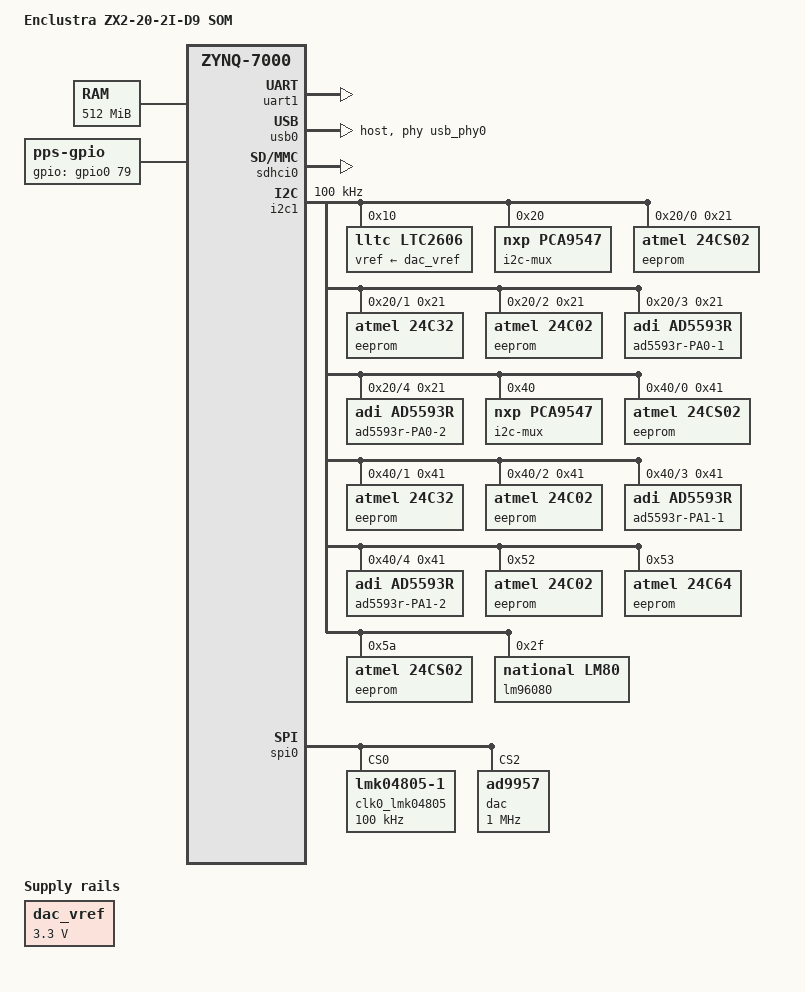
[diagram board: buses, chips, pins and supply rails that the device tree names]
/dts-v1/;

#include "zynq-7000.dtsi"
#include "zynq_enclustra_common.dtsi"
#include "zynq_enclustra_mars_zx2.dtsi"
#include <dt-bindings/interrupt-controller/irq.h>

/*
 *
 * * * * * * * * * * *
 * IRQ PL->PS
 * * * * * * * * * * *
 * 61  IRQ_F2P[0]
 * 62  IRQ_F2P[1]
 * 63  IRQ_F2P[2]
 * 64  IRQ_F2P[3]
 * 65  IRQ_F2P[4]
 * 66  IRQ_F2P[5]
 * 67  IRQ_F2P[6]
 * 68  IRQ_F2P[7]
 * 84  IRQ_F2P[8]
 * 85  IRQ_F2P[9]
 * 86  IRQ_F2P[10]
 * 87  IRQ_F2P[11]
 * 88  IRQ_F2P[12]
 * 89  IRQ_F2P[13]
 * 90  IRQ_F2P[14]
 * 91  IRQ_F2P[15]
 * * * * * * * * * * *
 * The IRQ Number in the devicetree
 * is determined as follows:
 * for IRQ_F2P: IRQ_devicetree = IRQ - 32
 */


/ {
	model = "Enclustra ZX2-20-2I-D9 SOM";

	chosen {
		bootargs = "console=ttyPS0,115200 earlycon earlyprintk root=/dev/mmcblk0p2 rw rootfstype=ext4 rootwait";
		stdout-path = "serial0:115200n8";
	};

	aliases {
		ethernet0 = &gem0;
		//i2c0 = &i2c0;
		//i2c1 = &i2c1;
		serial0 = &uart0;
		serial1 = &uart1;
		spi0 = &qspi;
	};

	memory {
		device_type = "memory";
		reg = <0x0 0x20000000>;
	};

	usb_phy0: phy0 {
		compatible = "usb-nop-xceiv";
		#phy-cells = <0>;
		reg = <0xe0002000 0x1000>;
		view-port = <0x0170>;
		drv-vbus;
	};

	fpga_axi: fpga-axi@0 {
		compatible = "simple-bus";
		#address-cells = <0x1>;
		#size-cells = <0x1>;
		ranges;



		tx0_dma: tx0-dmac@43c00000 {
			compatible = "adi,axi-dmac-1.00.a";
			reg = <0x43c00000 0x10000>;
			#dma-cells = <1>;
			interrupts = <0 29 IRQ_TYPE_LEVEL_HIGH>;
			interrupt-parent = <&intc>;
			clocks = <&clkc 16>;

			adi,channels {
				#size-cells = <0>;
				#address-cells = <1>;

				dma-channel@0 {
					reg = <0>;
					adi,source-bus-width = <64>;
					adi,source-bus-type = <0>;
					adi,destination-bus-width = <32>;
					adi,destination-bus-type = <2>;
				};
			};
		};

		tx1_dma: tx0-dmac@43c10000 {
			compatible = "adi,axi-dmac-1.00.a";
			reg = <0x43c10000 0x10000>;
			#dma-cells = <1>;
			interrupts = <0 30 IRQ_TYPE_LEVEL_HIGH>;
			interrupt-parent = <&intc>;
			clocks = <&clkc 16>;

			adi,channels {
				#size-cells = <0>;
				#address-cells = <1>;

				dma-channel@0 {
					reg = <0>;
					adi,source-bus-width = <64>;
					adi,source-bus-type = <0>;
					adi,destination-bus-width = <32>;
					adi,destination-bus-type = <2>;
				};
			};
		};

		dexter_dsp_tx: dexter_dsp_tx@43D00000 {
			compatible = "fpga,dexter-dsp-tx";
			reg = <0x43D00000 0x10000>;
			clocks = <&dac>;
			clock-names = "dac_clk";
		};

		fft_dma_in: dmac@43c20000 {
			compatible = "adi,axi-dmac-1.00.a";
			reg = <0x43c20000 0x10000>;
			#dma-cells = <1>;
			interrupts = <0 31 IRQ_TYPE_LEVEL_HIGH>;
			interrupt-parent = <&intc>;
			clocks = <&clkc 16>;

			adi,channels {
				#size-cells = <0>;
				#address-cells = <1>;

				dma-channel@0 {
					reg = <0>;
					adi,source-bus-width = <64>;
					adi,source-bus-type = <0>;
					adi,destination-bus-width = <32>;
					adi,destination-bus-type = <1>;
				};
			};
		};

		fft_dma_out: dmac@43c30000 {
			compatible = "adi,axi-dmac-1.00.a";
			reg = <0x43c10000 0x10000>;
			#dma-cells = <1>;
			interrupts = <0 32 IRQ_TYPE_LEVEL_HIGH>;
			interrupt-parent = <&intc>;
			clocks = <&clkc 16>;

			adi,channels {
				#size-cells = <0>;
				#address-cells = <1>;

				dma-channel@0 {
					reg = <0>;
					adi,source-bus-width = <32>;
					adi,source-bus-type = <1>;
					adi,destination-bus-width = <64>;
					adi,destination-bus-type = <0>;
				};
			};
		};

	};

	dac_vref: regulator-3v3 {
	    compatible = "regulator-fixed";
	    regulator-name = "3v3";
	    regulator-min-microvolt = <3300000>;
	    regulator-max-microvolt = <3300000>;
	    regulator-always-on;
	};

	pps: pps@gpio25 {
		gpios = <&gpio0 79 0>;
		assert-falling-edge;
		compatible = "pps-gpio";
	};
};

&uart1 {
	status = "okay";
};

&usb0 {
	status = "okay";
	dr_mode = "host";
	usb-phy = <&usb_phy0>;
};

&sdhci0 {
	u-boot,dm-pre-reloc;
	status = "okay";
	disable-wp;
	max-frequency = <26000000>;
};

&flash0 {
	partition@qspi-bootimage {
		label = "qspi-bootimage";
		reg = <0x00000000 0x00600000>;
	};
	partition@qspi-kernel {
		label = "qspi-kernel";
		reg = <0x00600000 0x00500000>;
	};
	partition@qspi-device-tree {
		label = "qspi-device-tree";
		reg = <0x00B00000 0x00080000>;
	};
	partition@qspi-bootargs {
		label = "qspi-bootargs";
		reg = <0x03F80000 0x00080000>;
	};
	partition@qspi-bootscript {
		label = "qspi-bootscript";
		reg = <0x00B80000 0x00080000>;
	};
	partition@qspi-rootfs {
		label = "qspi-rootfs";
		reg = <0x00C00000 0x03380000>;
	};
};

&i2c1 {
	status = "okay";
	clock-frequency = <100000>;

	ltc2606@10 {
		reg = <0x10>;
		compatible = "lltc,ltc2606";
		vref-supply = <&dac_vref>;
	};

	/* PA-0 */
	i2c-mux@20 {
		reg = <0x20>;
		compatible = "nxp,pca9547";
		#address-cells = <1>;
		#size-cells = <0>;
		i2c@0 {
			reg = <0>;
			#address-cells = <1>;
			#size-cells = <0>;
			eeprom@21 {
				compatible = "atmel,24cs02";
				reg = <0x21>;
			};
		};
		i2c@1 {
			reg = <1>;
			#address-cells = <1>;
			#size-cells = <0>;
			eeprom@21 {
				compatible = "atmel,24c32";
				reg = <0x21>;
			};
		};
		i2c@2 {
			reg = <2>;
			#address-cells = <1>;
			#size-cells = <0>;
			eeprom@21 {
				compatible = "atmel,24c02";
				reg = <0x21>;
			};
		};
		i2c@3 {
			reg = <3>;
			#address-cells = <1>;
			#size-cells = <0>;
			ad5593r-PA0-1@21 {
				#size-cells = <0>;
				#address-cells = <1>;
				#gpio-cells = <2>;
				compatible = "adi,ad5593r";
				reg = <0x21>;
				gpio-controller;
				channel@0 {
					reg = <0>;
					adi,mode = <8>;
					adi,off-state = <0>;
					label = "GPO_EN_BIAS";
				};
				channel@1 {
					reg = <1>;
					adi,mode = <8>;
					adi,off-state = <0>;
					label = "GPO_EN_Drain";
				};
				channel@2 {
					reg = <2>;
					adi,mode = <1>;
					adi,off-state = <0>;
					label = "VTemp";
				};
				channel@3 {
					reg = <3>;
					adi,mode = <1>;
					adi,off-state = <0>;
					label = "IDrain";
				};
				channel@4 {
					reg = <4>;
					adi,mode = <1>;
					adi,off-state = <0>;
					label = "Vdrain";
				};
				channel@5 {
					reg = <5>;
					adi,mode = <2>;
					adi,off-state = <0>;
					label = "PWM_Gate";
				};
				channel@6 {
					reg = <6>;
					adi,mode = <0>;
					adi,off-state = <0>;
				};
				channel@7 {
					reg = <7>;
					adi,mode = <0>;
					adi,off-state = <0>;
				};
			};
		};
		i2c@4 {
			reg = <4>;
			#address-cells = <1>;
			#size-cells = <0>;
			ad5593r-PA0-2@21 {
				#size-cells = <0>;
				#address-cells = <1>;
				#gpio-cells = <2>;
				compatible = "adi,ad5593r";
				reg = <0x21>;
				gpio-controller;
				channel@0 {
					reg = <0>;
					adi,mode = <8>;
					adi,off-state = <0>;
					label = "GPO_SEL_FWD_nREF";
				};
				channel@1 {
					reg = <1>;
					adi,mode = <1>;
					adi,off-state = <0>;
					label = "P_FWD";
				};
				channel@2 {
					reg = <2>;
					adi,mode = <1>;
					adi,off-state = <0>;
					label = "P_REV";
				};
				channel@3 {
					reg = <3>;
					adi,mode = <1>;
					adi,off-state = <0>;
					label = "P_VSWR";
				};
				channel@4 {
					reg = <4>;
					adi,mode = <0>;
					adi,off-state = <0>;
				};
				channel@5 {
						reg = <5>;
						adi,mode = <0>;
						adi,off-state = <0>;
				};
				channel@6 {
					reg = <6>;
					adi,mode = <0>;
					adi,off-state = <0>;
				};
				channel@7 {
					reg = <7>;
					adi,mode = <0>;
					adi,off-state = <0>;
				};
			};
		};
	};

	/* PA-1 */
	i2c-mux@40 {
		reg = <0x40>;
		compatible = "nxp,pca9547";
		#address-cells = <1>;
		#size-cells = <0>;
		i2c@0 {
			reg = <0>;
			#address-cells = <1>;
			#size-cells = <0>;
			eeprom@41 {
				compatible = "atmel,24cs02";
				reg = <0x41>;
			};
		};
		i2c@1 {
			reg = <1>;
			#address-cells = <1>;
			#size-cells = <0>;
			eeprom@41 {
				compatible = "atmel,24c32";
				reg = <0x41>;
			};
		};
		i2c@2 {
			reg = <2>;
			#address-cells = <1>;
			#size-cells = <0>;
			eeprom@41 {
				compatible = "atmel,24c02";
				reg = <0x41>;
			};
		};
		i2c@3 {
			reg = <3>;
			#address-cells = <1>;
			#size-cells = <0>;
			ad5593r-PA1-1@41 {
				#size-cells = <0>;
				#address-cells = <1>;
				#gpio-cells = <2>;
				compatible = "adi,ad5593r";
				reg = <0x41>;
				gpio-controller;
				channel@0 {
					reg = <0>;
					adi,mode = <8>;
					adi,off-state = <0>;
					label = "GPO_EN_BIAS";
				};
				channel@1 {
					reg = <1>;
					adi,mode = <8>;
					adi,off-state = <0>;
					label = "GPO_EN_Drain";
				};
				channel@2 {
					reg = <2>;
					adi,mode = <1>;
					adi,off-state = <0>;
					label = "VTemp";
				};
				channel@3 {
					reg = <3>;
					adi,mode = <1>;
					adi,off-state = <0>;
					label = "IDrain";
				};
				channel@4 {
					reg = <4>;
					adi,mode = <1>;
					adi,off-state = <0>;
					label = "Vdrain";
				};
				channel@5 {
					reg = <5>;
					adi,mode = <2>;
					adi,off-state = <0>;
					label = "PWM_Gate";
				};
				channel@6 {
					reg = <6>;
					adi,mode = <0>;
					adi,off-state = <0>;
				};
				channel@7 {
					reg = <7>;
					adi,mode = <0>;
					adi,off-state = <0>;
				};
			};
		};
		i2c@4 {
			reg = <4>;
			#address-cells = <1>;
			#size-cells = <0>;
			ad5593r-PA1-2@41 {
				#size-cells = <0>;
				#address-cells = <1>;
				#gpio-cells = <2>;
				compatible = "adi,ad5593r";
				reg = <0x41>;
				gpio-controller;
				channel@0 {
					reg = <0>;
					adi,mode = <8>;
					adi,off-state = <0>;
					label = "GPO_SEL_FWD_nREF";
				};
				channel@1 {
					reg = <1>;
					adi,mode = <1>;
					adi,off-state = <0>;
					label = "P_FWD";
				};
				channel@2 {
					reg = <2>;
					adi,mode = <1>;
					adi,off-state = <0>;
					label = "P_REV";
				};
				channel@3 {
					reg = <3>;
					adi,mode = <1>;
					adi,off-state = <0>;
					label = "P_VSWR";
				};
				channel@4 {
					reg = <4>;
					adi,mode = <0>;
					adi,off-state = <0>;
				};
				channel@5 {
						reg = <5>;
						adi,mode = <0>;
						adi,off-state = <0>;
				};
				channel@6 {
					reg = <6>;
					adi,mode = <0>;
					adi,off-state = <0>;
				};
				channel@7 {
					reg = <7>;
					adi,mode = <0>;
					adi,off-state = <0>;
				};
			};
		};
	};

	eeprom@52 {				// TX Modules Sec.AT24MAC402 EEPROM
		compatible = "atmel,24c02";
		reg = <0x52>;
		pagesize = <16>;
	};

	eeprom@53 { 				// Baseboard EEPROM
		compatible = "atmel,24c64";
		reg = <0x53>;
		pagesize = <32>;
	};

	eeprom@5a {				// TX Modules Sec.AT24MAC402 EEPROM Serial
		compatible = "atmel,24cs02";
		reg = <0x5a>;
		pagesize = <1>;
		//read-only;
	};

	lm96080@2f {
		compatible = "national,lm80";
		reg = <0x2f>;
	};
};

&spi0 {
	status = "okay";

	clk0_lmk04805: lmk04805@0 {
		#address-cells = <1>;
		#size-cells = <0>;
		#clock-cells = <1>;
		compatible = "lmk04805-1";
		reg = <0>;
		spi-max-frequency = <100000>;
		clock-output-names = "lmk04805-lpc_out0", "lmk04805-lpc_out1", "lmk04805-lpc_out2", "lmk04805-lpc_out3", "lmk04805-lpc_out4", "lmk04805-lpc_out5", "lmk04805-lpc_out6", "lmk04805-lpc_out7", "lmk04805-lpc_out8", "lmk04805-lpc_out9", "lmk04805-lpc_out10", "lmk04805-lpc_out11";
		//lmk,pll1-r = <2>;
		//lmk,pll1-n = <2>;
		lmk,vcxo-freq = <30720000>;
		lmk,en-pll2-ref-2x;
		lmk,pll2-r = <1>;
		lmk,pll2-p = <2>;
		lmk,pll2-n = <16>; // vco_freq = vcxfo_freq * p * n * / r * 2x = 1966.08MHz
		lmk,vco-mode = <6>; // PLL2, Int VCO

		lmk04805_0_c0:channel@0 {
			reg = <0>;
			lmk,extended-name = "CLKout0";
			lmk,clock-divider = <56>;
			lmk,out-type = <0>; // 0: power down, 1: lvds, 2: LVPECL 700mV 3: LVPECL 1200mV, 4: LVPECL 1600mV, 5: LVPECL 2000mV, 6: LVCMOS (Norm/Inv), 7: Norm/Norm, 8: ...
			lmk,powerdown;
		};

		lmk04805_0_c1:channel@1 {
			reg = <1>;
			lmk,extended-name = "CLKout1";
			lmk,clock-divider = <56>;
			lmk,out-type = <0>;
			lmk,powerdown;
		};

		lmk04805_0_c2:channel@2 {
			reg = <2>;
			lmk,extended-name = "CLKout2";
			lmk,clock-divider = <2>;
			lmk,out-type = <0>;
			lmk,powerdown;
		};

		lmk04805_0_c3:channel@3 {
			reg = <3>;
			lmk,extended-name = "CLKout3";
			lmk,clock-divider = <2>;
			lmk,out-type = <0>;
			lmk,powerdown;
		};

		lmk04805_0_c4:channel@4 {
			reg = <4>;
			lmk,extended-name = "CLKout4";
			lmk,clock-divider = <20>;
			lmk,out-type = <0>;
			lmk,powerdown;
		};

		lmk04805_0_c5:channel@5 {
			reg = <5>;
			lmk,extended-name = "CLKout5";
			lmk,clock-divider = <20>;
			lmk,out-type = <0>;
			lmk,powerdown;
		};

		lmk04805_0_c6:channel@6 {
			reg = <6>;
			lmk,extended-name = "CLKout6";
			lmk,clock-divider = <2>;
			lmk,out-type = <0>;
			lmk,powerdown;
		};

		lmk04805_0_c7:channel@7 {
			reg = <7>;
			lmk,extended-name = "DAC_CLK";
			lmk,clock-divider = <2>;
			lmk,out-type = <4>;
		};

		lmk04805_0_c8:channel@8 {
			reg = <8>;
			lmk,extended-name = "CLKout8";
			lmk,clock-divider = <12>;
			lmk,out-type = <0>;
			lmk,powerdown;
		};

		lmk04805_0_c9:channel@9 {
			reg = <9>;
			lmk,extended-name = "FPGA_CLK";
			lmk,clock-divider = <12>;
			lmk,out-type = <1>;
			lmk,powerdown;
		};

		lmk04805_0_c10:channel@10 {
			reg = <10>;
			lmk,extended-name = "CLKout10";
			lmk,clock-divider = <12>;
			lmk,out-type = <0>;
			lmk,powerdown;
		};

		lmk04805_0_c11:channel@11 {
			reg = <11>;
			lmk,extended-name = "ADC_CLK";
			lmk,clock-divider = <12>;
			lmk,out-type = <4>;
			lmk,powerdown;
		};
	};

	dac: ad9957@2{
		#address-cells = <1>;
		#size-cells = <0>;
		#clock-cells = <0>;
		compatible = "ad9957";
		reg = <2>;
		spi-max-frequency = <1000000>;
		clocks = <&clk0_lmk04805 7>;
		clock-names = "clk";
		dmas = <&tx0_dma 0>, <&tx1_dma 0>;
		dma-names = "tx0", "tx1";
	};


	/* spidev@2{
		#address-cells = <1>;
		#size-cells = <0>;
		compatible = "spidev";
		reg = <2>;
		spi-max-frequency = <1000000>;
	}; */
};
